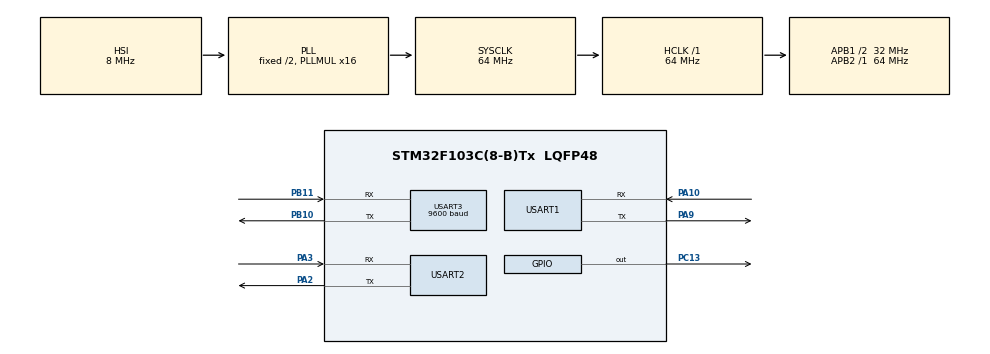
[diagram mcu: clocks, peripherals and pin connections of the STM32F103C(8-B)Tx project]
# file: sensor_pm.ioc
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Mcu.Family=STM32F1
NVIC.USART3_IRQn=true\:0\:0\:false\:false\:true\:true\:true
Dma.USART2_RX.3.Mode=DMA_NORMAL
Dma.USART3_TX.5.MemInc=DMA_MINC_ENABLE
NVIC.DMA1_Channel5_IRQn=true\:0\:0\:false\:false\:true\:false\:true
Dma.USART3_RX.4.Priority=DMA_PRIORITY_LOW
Dma.USART1_TX.1.MemInc=DMA_MINC_ENABLE
PB10.Mode=Asynchronous
PA10.GPIO_PuPd=GPIO_PULLDOWN
PA3.GPIO_PuPd=GPIO_PULLDOWN
Dma.USART3_RX.4.MemDataAlignment=DMA_MDATAALIGN_BYTE
PB11.GPIO_PuPd=GPIO_PULLDOWN
PB11.Signal=USART3_RX
RCC.SYSCLKSource=RCC_SYSCLKSOURCE_PLLCLK
ProjectManager.StackSize=0x400
NVIC.DMA1_Channel3_IRQn=true\:0\:0\:false\:false\:true\:false\:true
Dma.USART2_TX.2.PeriphDataAlignment=DMA_PDATAALIGN_BYTE
USART3.BaudRate=9600
Dma.USART3_TX.5.PeriphDataAlignment=DMA_PDATAALIGN_BYTE
RCC.HCLKFreq_Value=64000000
RCC.APB2TimFreq_Value=64000000
TIM3.Period=5
RCC.AHBFreq_Value=64000000
Dma.USART1_RX.0.Priority=DMA_PRIORITY_LOW
Dma.USART3_TX.5.Direction=DMA_MEMORY_TO_PERIPH
Dma.USART2_TX.2.Priority=DMA_PRIORITY_LOW
RCC.PLLMUL=RCC_PLL_MUL16
Dma.USART3_RX.4.PeriphInc=DMA_PINC_DISABLE
PA14.Mode=Serial_Wire
TIM3.Prescaler=9999
Dma.USART2_TX.2.MemDataAlignment=DMA_MDATAALIGN_BYTE
Dma.USART1_RX.0.MemInc=DMA_MINC_ENABLE
Dma.USART1_TX.1.PeriphDataAlignment=DMA_PDATAALIGN_BYTE
Dma.USART2_RX.3.Direction=DMA_PERIPH_TO_MEMORY
Mcu.Package=LQFP48
Dma.USART3_TX.5.Priority=DMA_PRIORITY_LOW
USART2.VirtualMode=VM_ASYNC
PC13-TAMPER-RTC.GPIO_PuPd=GPIO_PULLDOWN
PA10.Signal=USART1_RX
Dma.USART3_RX.4.Instance=DMA1_Channel3
Dma.USART2_RX.3.MemDataAlignment=DMA_MDATAALIGN_BYTE
Dma.Request2=USART2_TX
Dma.Request1=USART1_TX
RCC.APB1TimFreq_Value=64000000
Dma.Request4=USART3_RX
Dma.Request3=USART2_RX
Dma.USART1_RX.0.Mode=DMA_NORMAL
Dma.Request5=USART3_TX
Dma.USART1_TX.1.Priority=DMA_PRIORITY_LOW
NVIC.DMA1_Channel4_IRQn=true\:0\:0\:false\:false\:true\:false\:true
NVIC.USART1_IRQn=true\:0\:0\:false\:false\:true\:true\:true
Dma.Request0=USART1_RX
Dma.USART1_RX.0.Instance=DMA1_Channel5
VP_TIM3_VS_ClockSourceINT.Mode=Internal
PA3.Signal=USART2_RX
Dma.USART1_TX.1.Direction=DMA_MEMORY_TO_PERIPH
NVIC.DMA1_Channel6_IRQn=true\:0\:0\:false\:false\:true\:false\:true
Dma.USART1_TX.1.Instance=DMA1_Channel4
Dma.USART2_TX.2.PeriphInc=DMA_PINC_DISABLE
TIM3.CounterMode=TIM_COUNTERMODE_UP
Dma.USART1_RX.0.PeriphDataAlignment=DMA_PDATAALIGN_BYTE
PA10.Mode=Asynchronous
TIM3.AutoReloadPreload=TIM_AUTORELOAD_PRELOAD_DISABLE
Dma.USART2_TX.2.MemInc=DMA_MINC_ENABLE
Dma.USART2_RX.3.Instance=DMA1_Channel6
PC13-TAMPER-RTC.Signal=GPIO_Output
Dma.USART3_TX.5.Instance=DMA1_Channel2
Dma.USART2_RX.3.PeriphDataAlignment=DMA_PDATAALIGN_BYTE
RCC.APB1CLKDivider=RCC_HCLK_DIV2
Dma.USART3_RX.4.PeriphDataAlignment=DMA_PDATAALIGN_BYTE
NVIC.USART2_IRQn=true\:0\:0\:false\:false\:true\:true\:true
PA3.Mode=Asynchronous
PA13.Signal=SYS_JTMS-SWDIO
PA9.Mode=Asynchronous
Dma.USART3_RX.4.Mode=DMA_NORMAL
PB11.Mode=Asynchronous
NVIC.DMA1_Channel2_IRQn=true\:0\:0\:false\:false\:true\:false\:true
ProjectManager.TargetToolchain=SW4STM32
Dma.USART1_RX.0.Direction=DMA_PERIPH_TO_MEMORY
PA9.Signal=USART1_TX
Dma.USART3_TX.5.PeriphInc=DMA_PINC_DISABLE
Dma.USART3_TX.5.Mode=DMA_NORMAL
RCC.USBFreq_Value=64000000
Dma.USART1_RX.0.PeriphInc=DMA_PINC_DISABLE
PB10.Signal=USART3_TX
Dma.USART1_TX.1.MemDataAlignment=DMA_MDATAALIGN_BYTE
board=custom
NVIC.TIM3_IRQn=true\:0\:0\:false\:false\:true\:true\:true
RCC.APB2Freq_Value=64000000
Dma.USART1_RX.0.MemDataAlignment=DMA_MDATAALIGN_BYTE
PA13.Mode=Serial_Wire
Mcu.Name=STM32F103C(8-B)Tx
Dma.USART2_TX.2.Mode=DMA_NORMAL
PA2.Signal=USART2_TX
RCC.SYSCLKFreq_VALUE=64000000
Dma.USART2_TX.2.Instance=DMA1_Channel7
USART3.VirtualMode=VM_ASYNC
Dma.USART1_TX.1.Mode=DMA_NORMAL
USART1.VirtualMode=VM_ASYNC
PA14.Signal=SYS_JTCK-SWCLK
ProjectManager.HeapSize=0x200
Dma.USART1_TX.1.PeriphInc=DMA_PINC_DISABLE
Dma.USART2_RX.3.MemInc=DMA_MINC_ENABLE
Dma.USART3_TX.5.MemDataAlignment=DMA_MDATAALIGN_BYTE
Dma.USART2_RX.3.PeriphInc=DMA_PINC_DISABLE
Dma.USART3_RX.4.MemInc=DMA_MINC_ENABLE
Dma.USART2_TX.2.Direction=DMA_MEMORY_TO_PERIPH
Dma.USART3_RX.4.Direction=DMA_PERIPH_TO_MEMORY
NVIC.PriorityGroup=NVIC_PRIORITYGROUP_4
Dma.USART2_RX.3.Priority=DMA_PRIORITY_LOW
PA2.Mode=Asynchronous
NVIC.DMA1_Channel7_IRQn=true\:0\:0\:false\:false\:true\:false\:true
RCC.APB1Freq_Value=32000000

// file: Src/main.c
/* USER CODE BEGIN Header */
/**
  ******************************************************************************
  * @file           : main.c
  * @brief          : Main program body
  ******************************************************************************
  * @attention
  *
  * <h2><center>&copy; Copyright (c) 2020 STMicroelectronics.
  * All rights reserved.</center></h2>
  *
  * This software component is licensed by ST under BSD 3-Clause license,
  * the "License"; You may not use this file except in compliance with the
  * License. You may obtain a copy of the License at:
  *                        opensource.org/licenses/BSD-3-Clause
  *
  ******************************************************************************
  */
// TODO Make Timer to handle startup of Nb-IOT Module, then init
//  - Handle some more error from nb-iot to improve self-reliability
/* USER CODE END Header */

#include "main.h"

/* USER CODE BEGIN Includes */
#include "uart_comm.h"
#include "pms7003.h"
#include "pc_comm.h"
#include "nb_iot.h"

/* USER CODE END Includes */

TIM_HandleTypeDef htim3;

UART_HandleTypeDef huart1;
UART_HandleTypeDef huart2;
UART_HandleTypeDef huart3;
DMA_HandleTypeDef hdma_usart1_rx;
DMA_HandleTypeDef hdma_usart1_tx;
DMA_HandleTypeDef hdma_usart2_tx;
DMA_HandleTypeDef hdma_usart2_rx;
DMA_HandleTypeDef hdma_usart3_rx;
DMA_HandleTypeDef hdma_usart3_tx;

void SystemClock_Config(void);
static void MX_GPIO_Init(void);
static void MX_DMA_Init(void);
static void MX_USART1_UART_Init(void);
static void MX_USART2_UART_Init(void);
static void MX_USART3_UART_Init(void);
static void MX_TIM3_Init(void);

int main(void)
{

  /* MCU Configuration--------------------------------------------------------*/

  /* Reset of all peripherals, Initializes the Flash interface and the Systick. */
  HAL_Init();

  /* Configure the system clock */
  SystemClock_Config();

  /* Initialize all configured peripherals */
  MX_GPIO_Init();
  MX_DMA_Init();
  MX_USART1_UART_Init();
  MX_USART2_UART_Init();
  MX_USART3_UART_Init();
  MX_TIM3_Init();
  /* USER CODE BEGIN 2 */

  HAL_TIM_Base_Start_IT(&htim3);
  start_dma_uart_rx();
  pm_sensor_host_tx(pm_sensor_changeSt_sleep);
//  nb_make_standard_init();
 // Set Timeout before init will happen
//  nb_iot_uart.tim_counter = 10000;
  /* USER CODE END 2 */

  /* Infinite loop */
  while (1)
  {

    /* USER CODE BEGIN 3 */
    if(pms_uart.rx_flag)
        pm_sensor_rx_callback();

    if (pc_uart.rx_flag)
        pc_comm_rx_callback();

    if (nb_iot_uart.rx_flag)
        nb_iot_rx_callback();

    if (pm_ready_to_nb_transmit_flag)
        pm_sensor_transmit_callback();

    if (nb_tim_flag)
    {
        nb_tim_flag = 0;
        nb_make_settings_validate();
    }
  }
  /* USER CODE END 3 */
}

void SystemClock_Config(void)
{
  RCC_OscInitTypeDef RCC_OscInitStruct = {0};
  RCC_ClkInitTypeDef RCC_ClkInitStruct = {0};

  /** Initializes the CPU, AHB and APB busses clocks
  */
  RCC_OscInitStruct.OscillatorType = RCC_OSCILLATORTYPE_HSI;
  RCC_OscInitStruct.HSIState = RCC_HSI_ON;
  RCC_OscInitStruct.HSICalibrationValue = RCC_HSICALIBRATION_DEFAULT;
  RCC_OscInitStruct.PLL.PLLState = RCC_PLL_ON;
  RCC_OscInitStruct.PLL.PLLSource = RCC_PLLSOURCE_HSI_DIV2;
  RCC_OscInitStruct.PLL.PLLMUL = RCC_PLL_MUL16;
  if (HAL_RCC_OscConfig(&RCC_OscInitStruct) != HAL_OK)
  {
    Error_Handler();
  }
  /** Initializes the CPU, AHB and APB busses clocks
  */
  RCC_ClkInitStruct.ClockType = RCC_CLOCKTYPE_HCLK|RCC_CLOCKTYPE_SYSCLK
                              |RCC_CLOCKTYPE_PCLK1|RCC_CLOCKTYPE_PCLK2;
  RCC_ClkInitStruct.SYSCLKSource = RCC_SYSCLKSOURCE_PLLCLK;
  RCC_ClkInitStruct.AHBCLKDivider = RCC_SYSCLK_DIV1;
  RCC_ClkInitStruct.APB1CLKDivider = RCC_HCLK_DIV2;
  RCC_ClkInitStruct.APB2CLKDivider = RCC_HCLK_DIV1;

  if (HAL_RCC_ClockConfig(&RCC_ClkInitStruct, FLASH_LATENCY_2) != HAL_OK)
  {
    Error_Handler();
  }
}

static void MX_TIM3_Init(void)
{

  TIM_ClockConfigTypeDef sClockSourceConfig = {0};
  TIM_MasterConfigTypeDef sMasterConfig = {0};

  htim3.Instance = TIM3;
  htim3.Init.Prescaler = 9999;
  htim3.Init.CounterMode = TIM_COUNTERMODE_UP;
  htim3.Init.Period = 5;
  htim3.Init.ClockDivision = TIM_CLOCKDIVISION_DIV1;
  htim3.Init.AutoReloadPreload = TIM_AUTORELOAD_PRELOAD_DISABLE;
  if (HAL_TIM_Base_Init(&htim3) != HAL_OK)
  {
    Error_Handler();
  }
  sClockSourceConfig.ClockSource = TIM_CLOCKSOURCE_INTERNAL;
  if (HAL_TIM_ConfigClockSource(&htim3, &sClockSourceConfig) != HAL_OK)
  {
    Error_Handler();
  }
  sMasterConfig.MasterOutputTrigger = TIM_TRGO_RESET;
  sMasterConfig.MasterSlaveMode = TIM_MASTERSLAVEMODE_DISABLE;
  if (HAL_TIMEx_MasterConfigSynchronization(&htim3, &sMasterConfig) != HAL_OK)
  {
    Error_Handler();
  }

}

static void MX_USART1_UART_Init(void)
{

  huart1.Instance = USART1;
  huart1.Init.BaudRate = 115200;
  huart1.Init.WordLength = UART_WORDLENGTH_8B;
  huart1.Init.StopBits = UART_STOPBITS_1;
  huart1.Init.Parity = UART_PARITY_NONE;
  huart1.Init.Mode = UART_MODE_TX_RX;
  huart1.Init.HwFlowCtl = UART_HWCONTROL_NONE;
  huart1.Init.OverSampling = UART_OVERSAMPLING_16;
  if (HAL_UART_Init(&huart1) != HAL_OK)
  {
    Error_Handler();
  }
  /* USER CODE BEGIN USART1_Init 2 */
    __HAL_UART_ENABLE_IT(&huart1, UART_IT_IDLE);
  /* USER CODE END USART1_Init 2 */

}

static void MX_USART2_UART_Init(void)
{

  huart2.Instance = USART2;
  huart2.Init.BaudRate = 115200;
  huart2.Init.WordLength = UART_WORDLENGTH_8B;
  huart2.Init.StopBits = UART_STOPBITS_1;
  huart2.Init.Parity = UART_PARITY_NONE;
  huart2.Init.Mode = UART_MODE_TX_RX;
  huart2.Init.HwFlowCtl = UART_HWCONTROL_NONE;
  huart2.Init.OverSampling = UART_OVERSAMPLING_16;
  if (HAL_UART_Init(&huart2) != HAL_OK)
  {
    Error_Handler();
  }
  /* USER CODE BEGIN USART2_Init 2 */
    __HAL_UART_ENABLE_IT(&huart2, UART_IT_IDLE);
  /* USER CODE END USART2_Init 2 */

}

static void MX_USART3_UART_Init(void)
{

  huart3.Instance = USART3;
  huart3.Init.BaudRate = 9600;
  huart3.Init.WordLength = UART_WORDLENGTH_8B;
  huart3.Init.StopBits = UART_STOPBITS_1;
  huart3.Init.Parity = UART_PARITY_NONE;
  huart3.Init.Mode = UART_MODE_TX_RX;
  huart3.Init.HwFlowCtl = UART_HWCONTROL_NONE;
  huart3.Init.OverSampling = UART_OVERSAMPLING_16;
  if (HAL_UART_Init(&huart3) != HAL_OK)
  {
    Error_Handler();
  }
  /* USER CODE BEGIN USART3_Init 2 */
    __HAL_UART_ENABLE_IT(&huart3, UART_IT_IDLE);
  /* USER CODE END USART3_Init 2 */

}

static void MX_DMA_Init(void)
{

  /* DMA controller clock enable */
  __HAL_RCC_DMA1_CLK_ENABLE();

  /* DMA interrupt init */
  /* DMA1_Channel2_IRQn interrupt configuration */
  HAL_NVIC_SetPriority(DMA1_Channel2_IRQn, 0, 0);
  HAL_NVIC_EnableIRQ(DMA1_Channel2_IRQn);
  /* DMA1_Channel3_IRQn interrupt configuration */
  HAL_NVIC_SetPriority(DMA1_Channel3_IRQn, 0, 0);
  HAL_NVIC_EnableIRQ(DMA1_Channel3_IRQn);
  /* DMA1_Channel4_IRQn interrupt configuration */
  HAL_NVIC_SetPriority(DMA1_Channel4_IRQn, 0, 0);
  HAL_NVIC_EnableIRQ(DMA1_Channel4_IRQn);
  /* DMA1_Channel5_IRQn interrupt configuration */
  HAL_NVIC_SetPriority(DMA1_Channel5_IRQn, 0, 0);
  HAL_NVIC_EnableIRQ(DMA1_Channel5_IRQn);
  /* DMA1_Channel6_IRQn interrupt configuration */
  HAL_NVIC_SetPriority(DMA1_Channel6_IRQn, 0, 0);
  HAL_NVIC_EnableIRQ(DMA1_Channel6_IRQn);
  /* DMA1_Channel7_IRQn interrupt configuration */
  HAL_NVIC_SetPriority(DMA1_Channel7_IRQn, 0, 0);
  HAL_NVIC_EnableIRQ(DMA1_Channel7_IRQn);

}

static void MX_GPIO_Init(void)
{
  GPIO_InitTypeDef GPIO_InitStruct = {0};

  /* GPIO Ports Clock Enable */
  __HAL_RCC_GPIOC_CLK_ENABLE();
  __HAL_RCC_GPIOA_CLK_ENABLE();
  __HAL_RCC_GPIOB_CLK_ENABLE();

  /*Configure GPIO pin Output Level */
  HAL_GPIO_WritePin(GPIOC, GPIO_PIN_13, GPIO_PIN_RESET);

  /*Configure GPIO pin : PC13 */
  GPIO_InitStruct.Pin = GPIO_PIN_13;
  GPIO_InitStruct.Mode = GPIO_MODE_OUTPUT_PP;
  GPIO_InitStruct.Pull = GPIO_PULLDOWN;
  GPIO_InitStruct.Speed = GPIO_SPEED_FREQ_LOW;
  HAL_GPIO_Init(GPIOC, &GPIO_InitStruct);

}

void Error_Handler(void)
{
}

/************************ (C) COPYRIGHT STMicroelectronics *****END OF FILE****/
